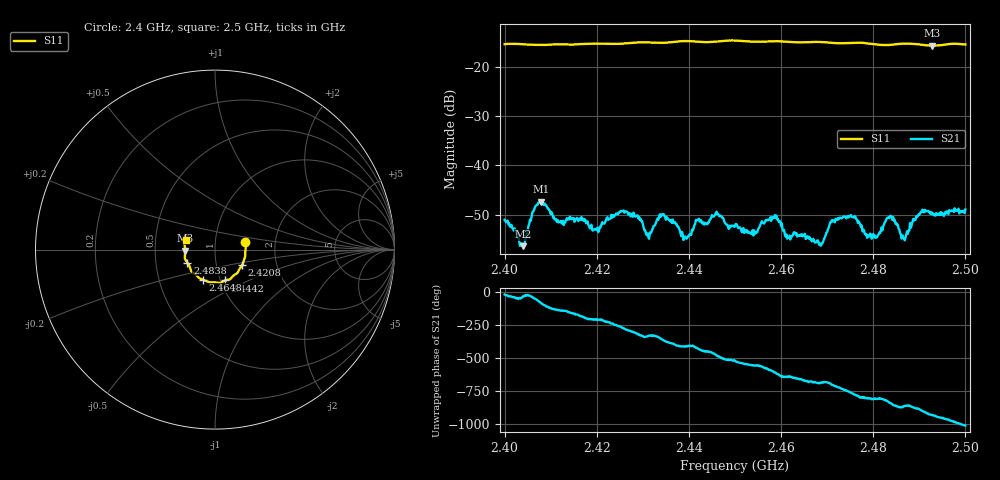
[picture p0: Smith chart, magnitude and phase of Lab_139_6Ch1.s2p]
# Hz S RI R 50
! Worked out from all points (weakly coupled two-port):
!   601 points, 2.4 GHz to 2.5 GHz, reference 50 ohm
!   highest |S21| = -47.36 dB at 2.408 GHz (marker M1); lowest = -56.5 dB at 2.404 GHz (marker M2)
!   lowest |S11| = -15.6 dB at 2.4928 GHz (marker M3), VSWR 1.40, Z = 35.7 - j0.373 ohm
!   |S11| at or under -10 dB: start of sweep to end of sweep
!   S12 and S22 are empty: the file has one direction only
!   S11 on the Smith chart (normalised r, x): 2.4 GHz: 1.40, +0.12; 2.4208 GHz: 1.33, -0.24; 2.4442 GHz: 1.05, -0.37; 2.4648 GHz: 0.83, -0.29; 2.4838 GHz: 0.73, -0.11; 2.5 GHz: 0.72, +0.08
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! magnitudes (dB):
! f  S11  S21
! 2.4 GHz  -15.3  -51.1
! 2.404 GHz  -15.3  -56.5
! 2.408 GHz  -15.4  -47.4
! 2.4118 GHz  -15.3  -51.5
! 2.4167 GHz  -15.2  -50.5
! 2.4208 GHz  -15.2  -52.6
! 2.426 GHz  -15.1  -49.6
! 2.4312 GHz  -14.9  -54.5
! 2.4333 GHz  -15.0  -51.1
! 2.4393 GHz  -14.6  -54.8
! 2.4442 GHz  -14.9  -51.6
! 2.45 GHz  -14.5  -52.4
! 2.4585 GHz  -14.7  -50.6
! 2.4648 GHz  -14.9  -54.2
! 2.4667 GHz  -14.8  -55.5
! 2.4748 GHz  -15.0  -50.4
! 2.4807 GHz  -15.3  -54.6
! 2.4833 GHz  -15.4  -50.5
! 2.4838 GHz  -15.4  -50.3
! 2.4867 GHz  -15.2  -54.9
! 2.4928 GHz  -15.6  -49.6
! 2.5 GHz  -15.3  -49.0
